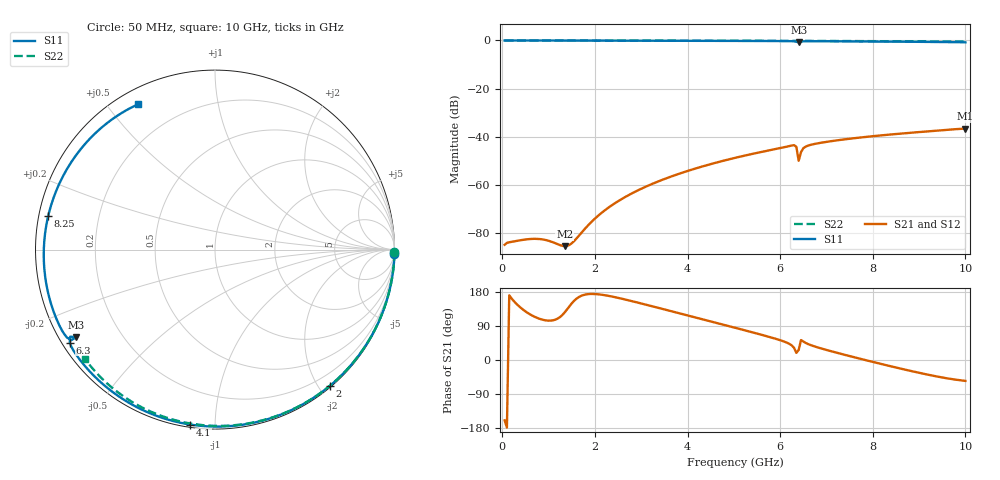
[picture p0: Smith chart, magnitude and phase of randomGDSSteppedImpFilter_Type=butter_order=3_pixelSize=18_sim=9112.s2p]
! freq	dB(S11)	phase(S11)	dB(S12)	phase(S12)
!  dB(S21)	phase(S21)	dB(S22)	phase(S22)
!S-par simulation data
#  GHz  S  DB  R 50
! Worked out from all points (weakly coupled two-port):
!   200 points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, 50 MHz to 10 GHz, reference 50 ohm
!   highest |S21| = -36.62 dB at 10 GHz (marker M1); lowest = -85.5 dB at 1.35 GHz (marker M2)
!   lowest |S11| = -0.8 dB at 6.4 GHz (marker M3), VSWR 22.03, Z = 2.46 - j14.4 ohm
!   |S11| at or under -10 dB: nowhere
!   |S22| runs from -0.5 to 0.0 dB; largest |S21 - S12| = 0
!   S11 on the Smith chart (normalised r, x): 50 MHz: 0, -90; 2 GHz: 0.02, -2.16; 4.1 GHz: 0.01, -0.87; 6.3 GHz: 0.02, -0.29; 8.25 GHz: 0.03, +0.10; 10 GHz: 0.06, +0.60
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0.05  -0.00 -1.3  -84.91 -159.3  -84.91 -159.3  -0.00 -0.8
0.7  -0.02 -17.8  -82.44 114.0  -82.44 114.0  -0.01 -11.3
1.35  -0.04 -33.9  -85.49 126.0  -85.49 126.0  -0.03 -21.6
1.7  -0.05 -42.5  -80.11 169.1  -80.11 169.1  -0.03 -27.1
1.75  -0.06 -43.7  -79.00 171.3  -79.00 171.3  -0.04 -27.9
2  -0.06 -49.7  -74.04 174.1  -74.04 174.1  -0.04 -31.7
2.6  -0.08 -64.0  -65.65 161.2  -65.65 161.2  -0.05 -41.0
3.4  -0.11 -82.5  -58.33 136.7  -58.33 136.7  -0.07 -53.0
4.1  -0.14 -98.1  -53.64 114.5  -53.64 114.5  -0.09 -63.2
5.05  -0.18 -119.0  -48.68 84.4  -48.68 84.4  -0.12 -76.6
5.8  -0.23 -135.4  -45.52 59.7  -45.52 59.7  -0.15 -86.8
6.3  -0.35 -147.4  -43.53 32.1  -43.53 32.1  -0.17 -93.5
6.35  -0.52 -149.0  -44.20 18.8  -44.20 18.8  -0.17 -94.1
6.4  -0.79 -147.7  -50.00 26.5  -50.00 26.5  -0.18 -94.8
6.45  -0.47 -147.8  -46.43 52.6  -46.43 52.6  -0.18 -95.4
6.5  -0.36 -149.3  -44.80 48.7  -44.80 48.7  -0.18 -96.1
6.7  -0.31 -154.5  -43.19 37.5  -43.19 37.5  -0.19 -98.7
7.5  -0.38 -173.1  -40.85 10.3  -40.85 10.3  -0.24 -108.9
8.25  -0.46 168.5  -39.32 -12.5  -39.32 -12.5  -0.30 -118.3
8.35  -0.48 166.0  -39.14 -15.4  -39.14 -15.4  -0.31 -119.5
9.2  -0.59 142.8  -37.76 -39.0  -37.76 -39.0  -0.39 -130.0
10  -0.76 117.8  -36.62 -55.1  -36.62 -55.1  -0.48 -139.8
